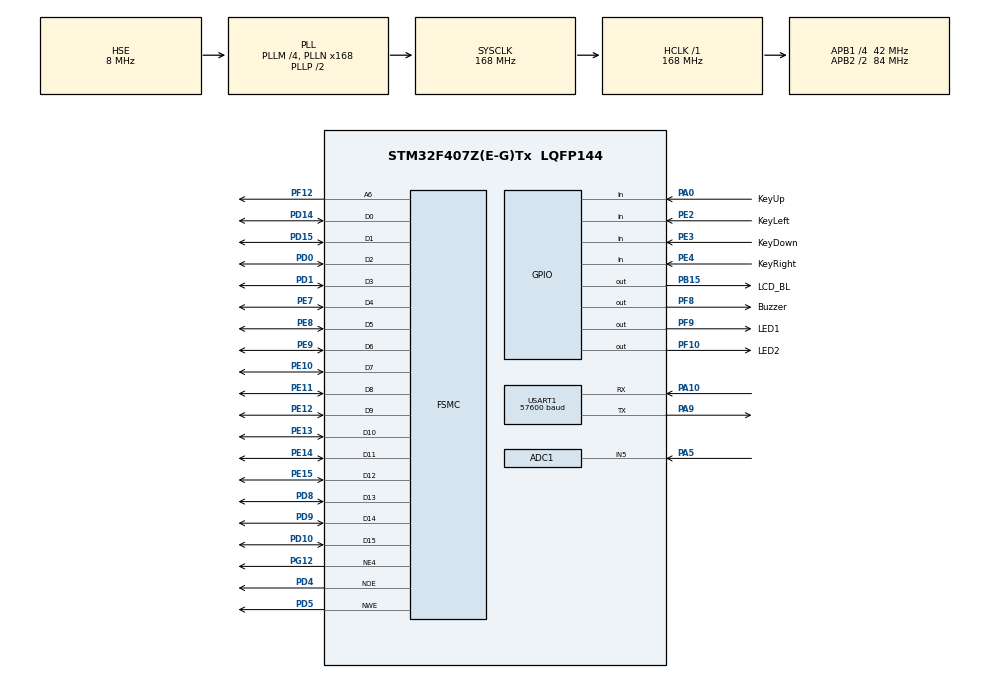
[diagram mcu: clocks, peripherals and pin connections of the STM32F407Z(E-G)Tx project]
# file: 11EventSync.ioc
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ADC1.Channel-0\#ChannelRegularConversion=ADC_CHANNEL_5
ADC1.Channel-1\#ChannelRegularConversion=ADC_CHANNEL_5
ADC1.Channel-2\#ChannelRegularConversion=ADC_CHANNEL_5
ADC1.DMAContinuousRequests=ENABLE
ADC1.EOCSelection=ADC_EOC_SINGLE_CONV
ADC1.EnableAnalogWatchDog=false
ADC1.ExternalTrigConv=ADC_EXTERNALTRIGCONV_T3_TRGO
ADC1.NbrOfConversion=3
ADC1.NbrOfConversionFlag=1
ADC1.Rank-0\#ChannelRegularConversion=1
ADC1.Rank-1\#ChannelRegularConversion=2
ADC1.Rank-2\#ChannelRegularConversion=3
ADC1.SamplingTime-0\#ChannelRegularConversion=ADC_SAMPLETIME_15CYCLES
ADC1.SamplingTime-1\#ChannelRegularConversion=ADC_SAMPLETIME_28CYCLES
ADC1.SamplingTime-2\#ChannelRegularConversion=ADC_SAMPLETIME_28CYCLES
ADC1.ScanConvMode=ENABLE
ADC1.master=1
Dma.ADC1.0.Direction=DMA_PERIPH_TO_MEMORY
Dma.ADC1.0.FIFOMode=DMA_FIFOMODE_DISABLE
Dma.ADC1.0.Instance=DMA2_Stream0
Dma.ADC1.0.MemDataAlignment=DMA_MDATAALIGN_WORD
Dma.ADC1.0.MemInc=DMA_MINC_ENABLE
Dma.ADC1.0.Mode=DMA_CIRCULAR
Dma.ADC1.0.PeriphDataAlignment=DMA_PDATAALIGN_WORD
Dma.ADC1.0.PeriphInc=DMA_PINC_DISABLE
Dma.ADC1.0.Priority=DMA_PRIORITY_MEDIUM
Dma.Request0=ADC1
FREERTOS.Events01=eventGroup,Dynamic,NULL
FREERTOS.Tasks01=Task_Buzzer,24,128,AppTask_Buzzer,Default,NULL,Dynamic,NULL,NULL;Task_LED,24,128,AppTask_LED,Default,NULL,Dynamic,NULL,NULL;Task_LED2,24,128,AppTask_LED2,Default,NULL,Dynamic,NULL,NULL
FSMC.AddressSetupTime4=2
FSMC.BusTurnAroundDuration4=0
FSMC.DataSetupTime4=16
FSMC.ExtendedAddressSetupTime4=4
FSMC.ExtendedBusTurnAroundDuration4=0
FSMC.ExtendedDataSetupTime4=20
FSMC.ExtendedMode4=FSMC_EXTENDED_MODE_ENABLE
Mcu.Family=STM32F4
Mcu.Name=STM32F407Z(E-G)Tx
Mcu.Package=LQFP144
NVIC.ADC_IRQn=true\:5\:0\:false\:false\:true\:true\:true\:true\:true
NVIC.DMA2_Stream0_IRQn=true\:5\:0\:false\:false\:true\:false\:false\:true\:true
NVIC.PriorityGroup=NVIC_PRIORITYGROUP_4
NVIC.RTC_WKUP_IRQn=true\:5\:0\:false\:false\:true\:true\:true\:true\:true
NVIC.TIM6_DAC_IRQn=true\:0\:0\:true\:false\:true\:false\:false\:true\:true
NVIC.TimeBase=TIM6_DAC_IRQn
NVIC.TimeBaseIP=TIM6
PA0-WKUP.GPIO_Label=KeyUp
PA0-WKUP.GPIO_PuPd=GPIO_PULLDOWN
PA0-WKUP.Signal=GPIO_Input
PA10.Mode=Asynchronous
PA10.Signal=USART1_RX
PA13.Mode=Serial_Wire
PA13.Signal=SYS_JTMS-SWDIO
PA14.Mode=Serial_Wire
PA14.Signal=SYS_JTCK-SWCLK
PA5.Signal=ADCx_IN5
PA9.Mode=Asynchronous
PA9.Signal=USART1_TX
PB15.GPIO_Label=LCD_BL
PB15.Signal=GPIO_Output
PC14-OSC32_IN.Mode=LSE-External-Oscillator
PC14-OSC32_IN.Signal=RCC_OSC32_IN
PC15-OSC32_OUT.Mode=LSE-External-Oscillator
PC15-OSC32_OUT.Signal=RCC_OSC32_OUT
PD0.Signal=FSMC_D2_DA2
PD1.Signal=FSMC_D3_DA3
PD10.Signal=FSMC_D15_DA15
PD14.Signal=FSMC_D0_DA0
PD15.Signal=FSMC_D1_DA1
PD4.Signal=FSMC_NOE
PD5.Signal=FSMC_NWE
PD8.Signal=FSMC_D13_DA13
PD9.Signal=FSMC_D14_DA14
PE10.Signal=FSMC_D7_DA7
PE11.Signal=FSMC_D8_DA8
PE12.Signal=FSMC_D9_DA9
PE13.Signal=FSMC_D10_DA10
PE14.Signal=FSMC_D11_DA11
PE15.Signal=FSMC_D12_DA12
PE2.GPIO_Label=KeyLeft
PE2.GPIO_PuPd=GPIO_PULLUP
PE2.Signal=GPIO_Input
PE3.GPIO_Label=KeyDown
PE3.GPIO_PuPd=GPIO_PULLUP
PE3.Signal=GPIO_Input
PE4.GPIO_Label=KeyRight
PE4.GPIO_PuPd=GPIO_PULLUP
PE4.Signal=GPIO_Input
PE7.Signal=FSMC_D4_DA4
PE8.Signal=FSMC_D5_DA5
PE9.Signal=FSMC_D6_DA6
PF10.GPIO_Label=LED2
PF10.PinState=GPIO_PIN_SET
PF10.Signal=GPIO_Output
PF12.Signal=FSMC_A6
PF8.GPIO_Label=Buzzer
PF8.Signal=GPIO_Output
PF9.GPIO_Label=LED1
PF9.PinState=GPIO_PIN_SET
PF9.Signal=GPIO_Output
PG12.Mode=NorPsramChipSelect4_4
PG12.Signal=FSMC_NE4
PH0-OSC_IN.Mode=HSE-External-Oscillator
PH0-OSC_IN.Signal=RCC_OSC_IN
PH1-OSC_OUT.Mode=HSE-External-Oscillator
PH1-OSC_OUT.Signal=RCC_OSC_OUT
ProjectManager.HeapSize=0x200
ProjectManager.StackSize=0x400
ProjectManager.TargetToolchain=CMake
RCC.48MHZClocksFreq_Value=84000000
RCC.AHBFreq_Value=168000000
RCC.APB1CLKDivider=RCC_HCLK_DIV4
RCC.APB1Freq_Value=42000000
RCC.APB1TimFreq_Value=84000000
RCC.APB2CLKDivider=RCC_HCLK_DIV2
RCC.APB2Freq_Value=84000000
RCC.APB2TimFreq_Value=168000000
RCC.CortexFreq_Value=168000000
RCC.HCLKFreq_Value=168000000
RCC.HSE_VALUE=8000000
RCC.HSI_VALUE=16000000
RCC.PLLM=4
RCC.PLLN=168
RCC.PLLSourceVirtual=RCC_PLLSOURCE_HSE
RCC.RCC_RTC_Clock_Source=RCC_RTCCLKSOURCE_LSE
RCC.RCC_RTC_Clock_SourceVirtual=RCC_RTCCLKSOURCE_LSE
RCC.SYSCLKFreq_VALUE=168000000
RCC.SYSCLKSource=RCC_SYSCLKSOURCE_PLLCLK
RCC.VCOOutputFreq_Value=336000000
RTC.WakeUpClock=RTC_WAKEUPCLOCK_CK_SPRE_16BITS
RTC.WakeUpCounter=2
SH.ADCx_IN5.0=ADC1_IN5,IN5
SH.FSMC_A6.0=FSMC_A6,A6_4
SH.FSMC_D0_DA0.0=FSMC_D0,16b-d4
SH.FSMC_D10_DA10.0=FSMC_D10,16b-d4
SH.FSMC_D11_DA11.0=FSMC_D11,16b-d4
SH.FSMC_D12_DA12.0=FSMC_D12,16b-d4
SH.FSMC_D13_DA13.0=FSMC_D13,16b-d4
SH.FSMC_D14_DA14.0=FSMC_D14,16b-d4
SH.FSMC_D15_DA15.0=FSMC_D15,16b-d4
SH.FSMC_D1_DA1.0=FSMC_D1,16b-d4
SH.FSMC_D2_DA2.0=FSMC_D2,16b-d4
SH.FSMC_D3_DA3.0=FSMC_D3,16b-d4
SH.FSMC_D4_DA4.0=FSMC_D4,16b-d4
SH.FSMC_D5_DA5.0=FSMC_D5,16b-d4
SH.FSMC_D6_DA6.0=FSMC_D6,16b-d4
SH.FSMC_D7_DA7.0=FSMC_D7,16b-d4
SH.FSMC_D8_DA8.0=FSMC_D8,16b-d4
SH.FSMC_D9_DA9.0=FSMC_D9,16b-d4
SH.FSMC_NOE.0=FSMC_NOE,Lcd4
SH.FSMC_NWE.0=FSMC_NWE,Lcd4
TIM3.Period=5000-1
TIM3.Prescaler=8400-1
TIM3.TIM_MasterOutputTrigger=TIM_TRGO_UPDATE
USART1.BaudRate=57600
USART1.VirtualMode=VM_ASYNC
VP_ADC1_Vbat_Input.Mode=IN-Vbat
VP_ADC1_Vref_Input.Mode=IN-Vrefint
VP_FREERTOS_VS_CMSIS_V2.Mode=CMSIS_V2
VP_RTC_VS_RTC_Activate.Mode=RTC_Enabled
VP_RTC_VS_RTC_WakeUp_intern.Mode=WakeUp
VP_SYS_VS_tim6.Mode=TIM6
VP_TIM3_VS_ClockSourceINT.Mode=Internal
board=custom

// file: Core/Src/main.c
/* USER CODE BEGIN Header */
/**
  ******************************************************************************
  * @file           : main.c
  * @brief          : Main program body
  ******************************************************************************
  * @attention
  *
  * Copyright (c) 2025 STMicroelectronics.
  * All rights reserved.
  *
  * This software is licensed under terms that can be found in the LICENSE file
  * in the root directory of this software component.
  * If no LICENSE file comes with this software, it is provided AS-IS.
  *
  ******************************************************************************
  */
/* USER CODE END Header */
#include "main.h"
#include "cmsis_os.h"
#include "adc.h"
#include "dma.h"
#include "rtc.h"
#include "tim.h"
#include "usart.h"
#include "gpio.h"
#include "fsmc.h"

/* USER CODE BEGIN Includes */
#include "lcd.h"
#include <stdint.h>
#include "keyled.h"
#define BATCH_DATA_LEN 3
uint32_t adc_buffer[BATCH_DATA_LEN];
/* USER CODE END Includes */

void SystemClock_Config(void);
void MX_FREERTOS_Init(void);

int main(void)
{

  /* MCU Configuration--------------------------------------------------------*/

  /* Reset of all peripherals, Initializes the Flash interface and the Systick. */
  HAL_Init();

  /* Configure the system clock */
  SystemClock_Config();

  /* Initialize all configured peripherals */
  MX_GPIO_Init();
  MX_DMA_Init();
  MX_FSMC_Init();
  MX_ADC1_Init();
  MX_TIM3_Init();
  MX_RTC_Init();
  MX_USART1_UART_Init();
  /* USER CODE BEGIN 2 */

  /* LCD初始化 */
	lcd_init(); // 初始化LCD
  // 普通显示（会用背景色擦除）
  lcd_show_str(0,0,16,"Event Synchronization",RED);					   	//初始化

  /* USER CODE END 2 */

  /* Init scheduler */
  osKernelInitialize();  /* Call init function for freertos objects (in cmsis_os2.c) */
  MX_FREERTOS_Init();

  /* Start scheduler */
  osKernelStart();

  /* We should never get here as control is now taken by the scheduler */

  /* Infinite loop */
  while (1)
  {

  }
}

void SystemClock_Config(void)
{
  RCC_OscInitTypeDef RCC_OscInitStruct = {0};
  RCC_ClkInitTypeDef RCC_ClkInitStruct = {0};

  /** Configure the main internal regulator output voltage
  */
  __HAL_RCC_PWR_CLK_ENABLE();
  __HAL_PWR_VOLTAGESCALING_CONFIG(PWR_REGULATOR_VOLTAGE_SCALE1);

  /** Initializes the RCC Oscillators according to the specified parameters
  * in the RCC_OscInitTypeDef structure.
  */
  RCC_OscInitStruct.OscillatorType = RCC_OSCILLATORTYPE_HSE|RCC_OSCILLATORTYPE_LSE;
  RCC_OscInitStruct.HSEState = RCC_HSE_ON;
  RCC_OscInitStruct.LSEState = RCC_LSE_ON;
  RCC_OscInitStruct.PLL.PLLState = RCC_PLL_ON;
  RCC_OscInitStruct.PLL.PLLSource = RCC_PLLSOURCE_HSE;
  RCC_OscInitStruct.PLL.PLLM = 4;
  RCC_OscInitStruct.PLL.PLLN = 168;
  RCC_OscInitStruct.PLL.PLLP = RCC_PLLP_DIV2;
  RCC_OscInitStruct.PLL.PLLQ = 4;
  if (HAL_RCC_OscConfig(&RCC_OscInitStruct) != HAL_OK)
  {
    Error_Handler();
  }

  /** Initializes the CPU, AHB and APB buses clocks
  */
  RCC_ClkInitStruct.ClockType = RCC_CLOCKTYPE_HCLK|RCC_CLOCKTYPE_SYSCLK
                              |RCC_CLOCKTYPE_PCLK1|RCC_CLOCKTYPE_PCLK2;
  RCC_ClkInitStruct.SYSCLKSource = RCC_SYSCLKSOURCE_PLLCLK;
  RCC_ClkInitStruct.AHBCLKDivider = RCC_SYSCLK_DIV1;
  RCC_ClkInitStruct.APB1CLKDivider = RCC_HCLK_DIV4;
  RCC_ClkInitStruct.APB2CLKDivider = RCC_HCLK_DIV2;

  if (HAL_RCC_ClockConfig(&RCC_ClkInitStruct, FLASH_LATENCY_5) != HAL_OK)
  {
    Error_Handler();
  }
}

void HAL_TIM_PeriodElapsedCallback(TIM_HandleTypeDef *htim)
{
  if (htim->Instance == TIM6)
  {
    HAL_IncTick();
  }
}

void Error_Handler(void)
{
  __disable_irq();
  while (1)
  {
  }
}

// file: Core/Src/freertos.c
/* USER CODE BEGIN Header */
/**
  ******************************************************************************
  * File Name          : freertos.c
  * Description        : Code for freertos applications
  ******************************************************************************
  * @attention
  *
  * Copyright (c) 2025 STMicroelectronics.
  * All rights reserved.
  *
  * This software is licensed under terms that can be found in the LICENSE file
  * in the root directory of this software component.
  * If no LICENSE file comes with this software, it is provided AS-IS.
  *
  ******************************************************************************
  */
/* USER CODE END Header */

#include "FreeRTOS.h"
#include "task.h"
#include "main.h"
#include "cmsis_os.h"

/* USER CODE BEGIN Includes */
#include "keyled.h"
#include "lcd.h"

#include <stdint.h>
#include "adc.h"
#include <stdio.h>
#include "queue.h"
#include "stdio.h"
#include "semphr.h"
#include "USART.h"
#include "event_groups.h"
volatile uint32_t voltage = 0;
/* USER CODE END Includes */

/* USER CODE BEGIN PTD */
#define BITMASK_KEY_LEFT   (0b00000001<<2)
#define BITMASK_KEY_DOWN   (0b00000001<<1)
#define BITMASK_KEY_RIGHT  (0b00000001<<0)
#define BITMASK_SYNC      (BITMASK_KEY_LEFT | BITMASK_KEY_DOWN | BITMASK_KEY_RIGHT)
uint16_t curScreenX=90;
uint16_t curScreenY=150;
uint16_t lastScreenX=120;
uint16_t lastScreenY=180;
/* USER CODE END PTD */

/* Definitions for Task_Buzzer */
osThreadId_t Task_BuzzerHandle;
const osThreadAttr_t Task_Buzzer_attributes = {
  .name = "Task_Buzzer",
  .stack_size = 128 * 4,
  .priority = (osPriority_t) osPriorityNormal,
};
/* Definitions for Task_LED */
osThreadId_t Task_LEDHandle;
const osThreadAttr_t Task_LED_attributes = {
  .name = "Task_LED",
  .stack_size = 128 * 4,
  .priority = (osPriority_t) osPriorityNormal,
};
/* Definitions for Task_LED2 */
osThreadId_t Task_LED2Handle;
const osThreadAttr_t Task_LED2_attributes = {
  .name = "Task_LED2",
  .stack_size = 128 * 4,
  .priority = (osPriority_t) osPriorityNormal,
};
/* Definitions for eventGroup */
osEventFlagsId_t eventGroupHandle;
const osEventFlagsAttr_t eventGroup_attributes = {
  .name = "eventGroup"
};

void AppTask_Buzzer(void *argument);
void AppTask_LED(void *argument);
void AppTask_LED2(void *argument);

void MX_FREERTOS_Init(void); /* (MISRA C 2004 rule 8.1) */

void MX_FREERTOS_Init(void) {

  /* Create the thread(s) */
  /* creation of Task_Buzzer */
  Task_BuzzerHandle = osThreadNew(AppTask_Buzzer, NULL, &Task_Buzzer_attributes);

  /* creation of Task_LED */
  Task_LEDHandle = osThreadNew(AppTask_LED, NULL, &Task_LED_attributes);

  /* creation of Task_LED2 */
  Task_LED2Handle = osThreadNew(AppTask_LED2, NULL, &Task_LED2_attributes);

  /* Create the event(s) */
  /* creation of eventGroup */
  eventGroupHandle = osEventFlagsNew(&eventGroup_attributes);

}

void AppTask_Buzzer(void *argument)
{
  /* USER CODE BEGIN AppTask_Buzzer */
  /* Infinite loop */
  for(;;)
  {
      if(ScanPressedKey(50)!=KEY_DOWN)
      {
        vTaskDelay(pdMS_TO_TICKS(50));
        continue;
      }
      lcd_show_str(0, 40, 16, "Task_Buzzer reaches sync point", RED);
      xEventGroupSync(eventGroupHandle, BITMASK_KEY_DOWN, BITMASK_SYNC, portMAX_DELAY);
      while(1)
      {
        Buzzer_Toggle();
        vTaskDelay(pdMS_TO_TICKS(500));
      }
  }
  /* USER CODE END AppTask_Buzzer */
}

void AppTask_LED(void *argument)
{
  /* USER CODE BEGIN AppTask_LED */
  /* Infinite loop */
  for(;;)
  {
    if(ScanPressedKey(50)!=KEY_LEFT)
      {
        vTaskDelay(pdMS_TO_TICKS(50));
        continue;
      }
      lcd_show_str(0, 60, 16, "Task_LED1 reaches sync point", RED);
      xEventGroupSync(eventGroupHandle, BITMASK_KEY_LEFT, BITMASK_SYNC, portMAX_DELAY);
      while(1)
      {
        LED1_Toggle();
        vTaskDelay(pdMS_TO_TICKS(500));
      }
  }
  /* USER CODE END AppTask_LED */
}

void AppTask_LED2(void *argument)
{
  /* USER CODE BEGIN AppTask_LED2 */
  /* Infinite loop */
  for(;;)
  {
     if(ScanPressedKey(50)!=KEY_RIGHT)
      {
        vTaskDelay(pdMS_TO_TICKS(50));
        continue;
      }
      lcd_show_str(0, 80, 16, "Task_LED2 reaches sync point", RED);
      xEventGroupSync(eventGroupHandle, BITMASK_KEY_RIGHT, BITMASK_SYNC, portMAX_DELAY);
      while(1)
      {
        LED2_Toggle();
        vTaskDelay(pdMS_TO_TICKS(500));
      }
  }
  /* USER CODE END AppTask_LED2 */
}
